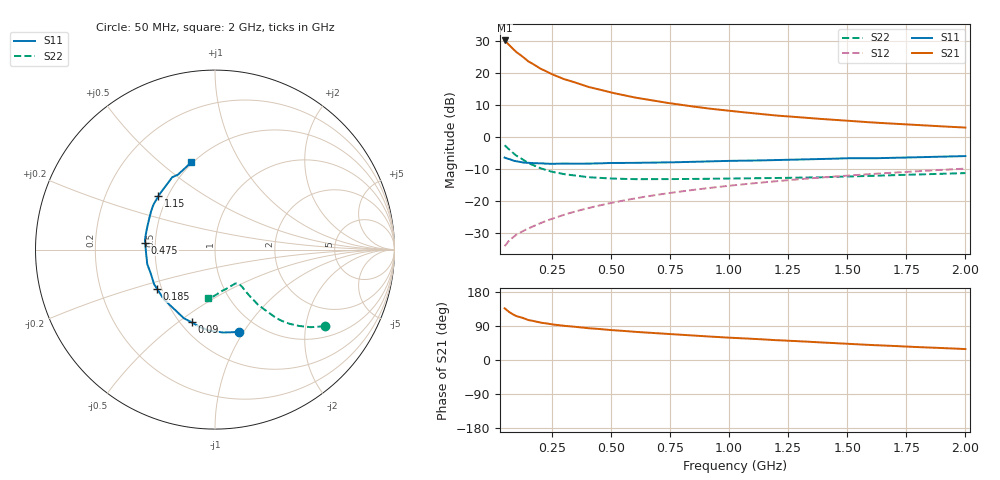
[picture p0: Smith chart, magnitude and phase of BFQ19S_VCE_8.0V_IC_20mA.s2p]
! Infineon Technologies  Discrete & RF Semiconductors
! BFQ19S
! VCE =  8.0 V,  IC =  20 mA
! Common Emitter S-Parameters:  Jan 2016
# GHz  S  MA  R  50
!  f  S11  S21  S12  S22
! GHz  MAG  ANG  MAG  ANG  MAG  ANG  MAG  ANG
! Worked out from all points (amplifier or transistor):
!   391 points, 50 MHz to 2 GHz, reference 50 ohm
!   highest |S21| = 30.1 dB at 50 MHz (marker M1)
!   |S21| within 3 dB of that: start of sweep to 90.88 MHz
!   unconditionally stable (mu >= 1): 393.6 MHz to 1.458 GHz
!   at 375 MHz: K = 0.99, MSG = 19.5 dB, |S12| = -22.7 dB
!   at 1.025 GHz: K = 1.03, MAG = 10.4 dB, |S12| = -15.0 dB
!   at 2 GHz: K = 0.95, MSG = 6.4 dB, |S12| = -9.8 dB
!   S11 on the Smith chart (normalised r, x): 50 MHz: 0.80, -0.96; 90 MHz: 0.57, -0.56; 185 MHz: 0.47, -0.24; 475 MHz: 0.44, +0.04; 1.15 GHz: 0.45, +0.33; 2 GHz: 0.49, +0.64
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0.05  0.4781 -73.7  31.99 136.4  0.0199 65.4  0.7451 -35.0
0.06  0.4643 -84.3  29.36 131.0  0.022 63.2  0.6869 -39.0
0.07  0.4527 -93.8  26.92 126.3  0.0247 62.0  0.635 -42.1
0.08  0.4391 -101.4  24.76 122.2  0.0263 60.8  0.5886 -44.7
0.09  0.4254 -107.9  22.8 118.8  0.0282 60.4  0.5474 -46.7
0.1  0.4199 -114.4  21.07 115.8  0.0301 59.9  0.5115 -48.2
0.15  0.3975 -135.9  15.14 105.4  0.0376 61.2  0.3921 -52.0
0.185  0.3898 -145.9  12.73 101.2  0.0429 62.8  0.3465 -52.8
0.2  0.3902 -150.3  11.72 98.8  0.0452 63.4  0.327 -53.2
0.25  0.3819 -159.8  9.513 94.0  0.053 65.0  0.2876 -53.7
0.3  0.3864 -167.4  8.023 90.2  0.0611 65.9  0.2641 -53.8
0.375  0.3841 -175.8  6.568 86.0  0.0733 66.9  0.2437 -54.5
0.4  0.3852 -178.6  6.093 84.1  0.0774 67.2  0.2369 -54.8
0.475  0.391 174.3  5.218 80.5  0.0896 67.5  0.2285 -56.0
0.6  0.3957 165.6  4.134 74.4  0.1102 67.2  0.2203 -58.9
0.7  0.3992 159.8  3.575 70.3  0.1264 66.8  0.2204 -61.8
0.895  0.415 149.1  2.833 62.7  0.1574 65.0  0.2229 -67.9
1.03  0.4261 142.4  2.494 58.0  0.1785 63.4  0.2261 -72.0
1.15  0.4332 136.8  2.257 54.2  0.1971 62.0  0.2285 -75.6
1.35  0.4486 127.7  1.964 47.7  0.228 59.5  0.2345 -81.3
1.675  0.472 113.9  1.629 37.6  0.2757 54.8  0.2538 -89.5
2  0.5046 105.1  1.405 28.9  0.3219 50.4  0.274 -98.6
